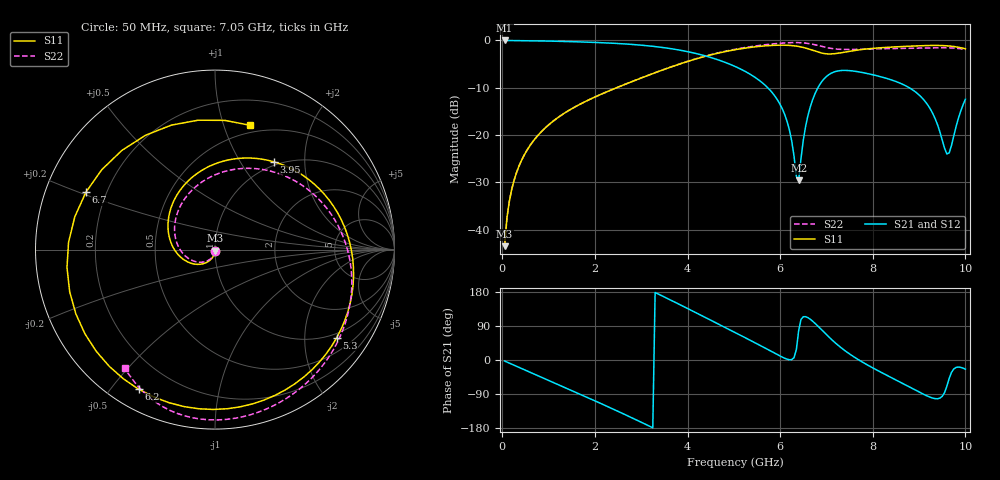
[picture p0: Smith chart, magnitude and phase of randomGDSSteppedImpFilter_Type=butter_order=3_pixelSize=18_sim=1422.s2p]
! freq	dB(S11)	phase(S11)	dB(S12)	phase(S12)
!  dB(S21)	phase(S21)	dB(S22)	phase(S22)
!S-par simulation data
#  GHz  S  DB  R 50
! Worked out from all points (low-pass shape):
!   200 points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, 50 MHz to 10 GHz, reference 50 ohm
!   highest |S21| = 0.00 dB at 50 MHz (marker M1); lowest = -29.5 dB at 6.4 GHz (marker M2)
!   |S21| within 3 dB of the highest: start of sweep to 4.283 GHz
!   lowest |S11| = -43.5 dB at 50 MHz (marker M3), VSWR 1.01, Z = 50 - j0.672 ohm
!   |S11| at or under -10 dB: start of sweep to 2.466 GHz
!   |S22| runs from -43.5 to -0.5 dB; largest |S21 - S12| = 0
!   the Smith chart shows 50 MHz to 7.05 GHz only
!   S11 on the Smith chart (normalised r, x): 50 MHz: 1.00, -0.01; 3.95 GHz: 0.94, +1.41; 5.3 GHz: 0.87, -2.85; 6.2 GHz: 0.08, -0.59; 6.7 GHz: 0.12, +0.21; 7.05 GHz: 0.43, +1.23
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0.05  -43.45 -90.6  -0.00 -2.7  -0.00 -2.7  -43.46 -91.1
0.2  -31.61 -99.5  -0.02 -10.8  -0.02 -10.8  -31.62 -101.3
0.5  -23.74 -115.1  -0.05 -26.8  -0.05 -26.8  -23.75 -119.4
1.75  -13.12 -177.8  -0.33 -94.0  -0.33 -94.0  -13.12 167.7
2.65  -9.27 134.4  -0.74 -144.0  -0.74 -144.0  -9.26 115.2
3.4  -6.46 90.7  -1.41 172.3  -1.41 172.3  -6.44 71.5
3.95  -4.60 56.3  -2.27 139.0  -2.27 139.0  -4.57 39.7
5.05  -1.92 -17.7  -5.60 71.0  -5.60 71.0  -1.82 -22.0
5.3  -1.54 -35.9  -6.84 55.4  -6.84 55.4  -1.40 -35.4
5.85  -1.04 -81.0  -11.29 20.1  -11.29 20.1  -0.73 -64.5
6.2  -1.05 -118.7  -18.91 0.6  -18.91 0.6  -0.48 -83.3
6.4  -1.28 -147.0  -29.51 77.7  -29.51 77.7  -0.47 -94.5
6.7  -2.08 156.0  -12.56 102.6  -12.56 102.6  -0.80 -111.3
6.9  -2.67 109.3  -8.68 79.2  -8.68 79.2  -1.27 -121.1
7.05  -2.86 74.2  -7.24 61.0  -7.24 61.0  -1.60 -127.3
7.5  -2.29 -4.5  -6.38 15.8  -6.38 15.8  -1.91 -144.7
7.9  -1.77 -45.8  -7.03 -14.1  -7.03 -14.1  -1.82 -164.2
8.35  -1.43 -78.4  -8.17 -43.3  -8.17 -43.3  -1.73 168.4
8.8  -1.21 -105.7  -10.06 -71.9  -10.06 -71.9  -1.66 133.7
9.3  -1.06 -136.4  -15.53 -100.7  -15.53 -100.7  -1.55 84.0
9.6  -1.14 -157.3  -23.99 -69.1  -23.99 -69.1  -1.55 49.0
10  -1.77 170.1  -12.42 -24.2  -12.42 -24.2  -1.91 0.7
